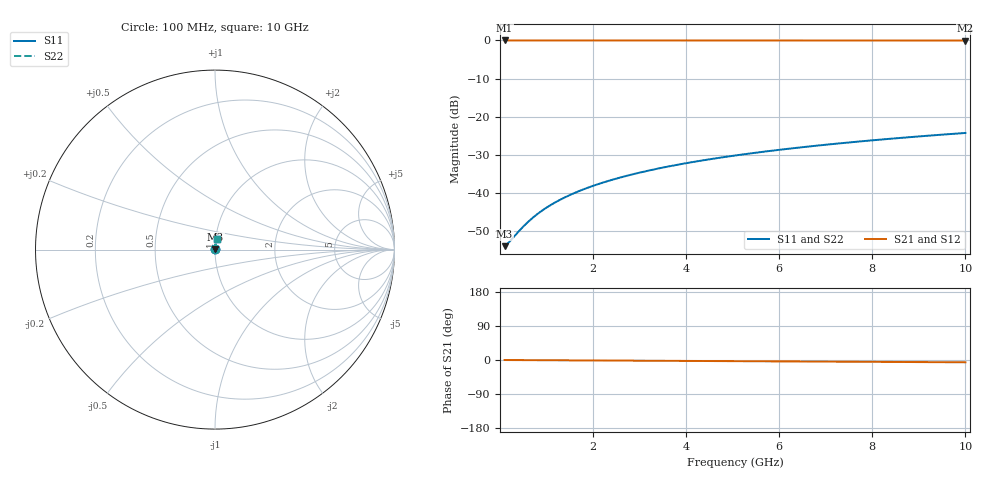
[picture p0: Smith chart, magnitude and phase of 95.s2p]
# Hz S RI R 50.00
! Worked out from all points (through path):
!   100 points, 100 MHz to 10 GHz, reference 50 ohm
!   highest |S21| = -0.02 dB at 100 MHz (marker M1); lowest = 0.0 dB at 10 GHz (marker M2)
!   lowest |S11| = -53.9 dB at 100 MHz (marker M3), VSWR 1.00, Z = 50.2 + j0.0614 ohm
!   |S11| at or under -10 dB: start of sweep to end of sweep
!   |S22| runs from -53.9 to -24.2 dB; largest |S21 - S12| = 0
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1e8  0.00192 0.000612  0.9981 -0.00106  0.9981 -0.00106  0.00192 0.000612
2e8  0.00194 0.00122  0.9981 -0.00212  0.9981 -0.00212  0.00194 0.00122
4e8  0.00196 0.00245  0.998 -0.00424  0.998 -0.00424  0.00196 0.00245
5e8  0.00197 0.00306  0.998 -0.0053  0.998 -0.0053  0.00197 0.00306
6e8  0.00199 0.00367  0.998 -0.00636  0.998 -0.00636  0.00199 0.00367
7e8  0.002 0.00428  0.998 -0.00742  0.998 -0.00742  0.002 0.00428
9e8  0.00203 0.00551  0.998 -0.00953  0.998 -0.00953  0.00203 0.00551
1.1e9  0.00206 0.00673  0.9979 -0.0117  0.9979 -0.0117  0.00206 0.00673
1.3e9  0.0021 0.00795  0.9979 -0.0138  0.9979 -0.0138  0.0021 0.00795
1.5e9  0.00214 0.00917  0.9978 -0.0159  0.9978 -0.0159  0.00214 0.00917
1.8e9  0.00222 0.011  0.9977 -0.0191  0.9977 -0.0191  0.00222 0.011
2.1e9  0.0023 0.0128  0.9976 -0.0222  0.9976 -0.0222  0.0023 0.0128
2.5e9  0.00243 0.0153  0.9975 -0.0265  0.9975 -0.0265  0.00243 0.0153
2.9e9  0.00258 0.0177  0.9973 -0.0307  0.9973 -0.0307  0.00258 0.0177
3.4e9  0.00279 0.0208  0.9971 -0.036  0.9971 -0.036  0.00279 0.0208
4.2e9  0.0032 0.0257  0.9966 -0.0445  0.9966 -0.0445  0.0032 0.0257
5.1e9  0.00376 0.0311  0.996 -0.054  0.996 -0.054  0.00376 0.0311
5.9e9  0.00434 0.036  0.9953 -0.0624  0.9953 -0.0624  0.00434 0.036
6.7e9  0.00501 0.0408  0.9945 -0.0709  0.9945 -0.0709  0.00501 0.0408
7.5e9  0.00576 0.0457  0.9936 -0.0793  0.9936 -0.0793  0.00576 0.0457
8.4e9  0.0067 0.0511  0.9926 -0.0888  0.9926 -0.0888  0.0067 0.0511
1e10  0.00863 0.0607  0.9903 -0.1056  0.9903 -0.1056  0.00863 0.0607
